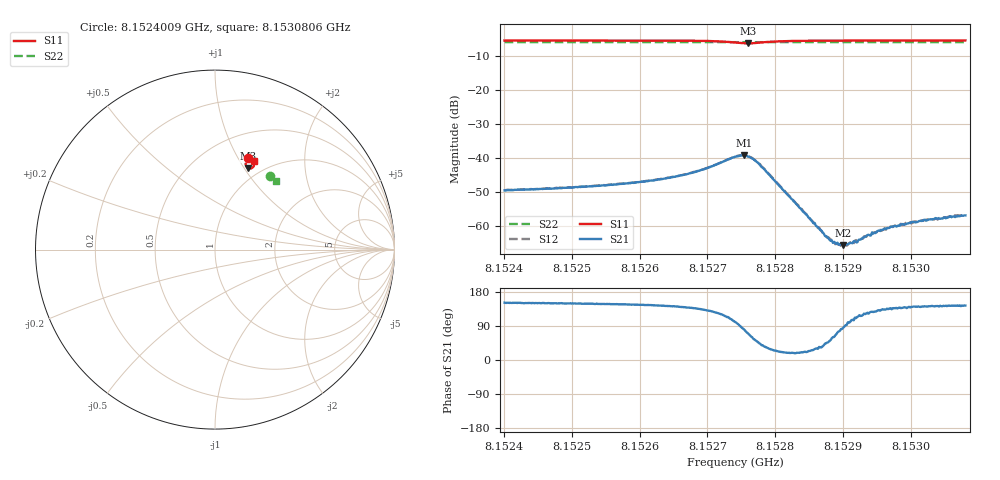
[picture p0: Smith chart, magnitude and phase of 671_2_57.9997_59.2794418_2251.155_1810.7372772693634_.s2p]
#  HZ  S  RI  R  50.00
! Rohde & Schwarz Vector Network Analyzer
! Rohde-Schwarz,ZNB20-2Port,1311601062101988,3.16
! Created: UTC 3/21/2024, 1:20:22 AM
! freq[Hz]  re:S11  im:S11  re:S21  im:S21  re:S12  im:S12  re:S22  im:S22
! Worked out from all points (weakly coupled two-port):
!   401 points, 8.1524009 GHz to 8.1530806 GHz, reference 50 ohm
!   highest |S21| = -39.18 dB at 8.1527543 GHz (marker M1); lowest = -65.7 dB at 8.1529005 GHz (marker M2)
!   lowest |S11| = -6.2 dB at 8.1527594 GHz (marker M3), VSWR 2.92, Z = 43.7 + j52.2 ohm
!   |S11| at or under -10 dB: nowhere
!   |S22| runs from -5.9 to -5.8 dB; largest |S21 - S12| = 0.00028
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8.15240088e9  0.1843 0.5082  -0.00291 0.0016  -0.00289 0.00162  0.3069 0.4091
8.15251473e9  0.1937 0.5046  -0.0032 0.00197  -0.00319 0.00203  0.3126 0.4047
8.15258779e9  0.2007 0.5012  -0.00353 0.0024  -0.00354 0.00242  0.3162 0.4015
8.15262858e9  0.2053 0.4983  -0.00387 0.00285  -0.00388 0.00291  0.3183 0.3999
8.15266086e9  0.2099 0.4947  -0.00421 0.00352  -0.00422 0.00362  0.32 0.3985
8.15268465e9  0.2138 0.49  -0.00453 0.00442  -0.00451 0.00452  0.3211 0.3973
8.15274073e9  0.2105 0.4582  -0.00193 0.0103  -0.00192 0.0103  0.3232 0.3942
8.15275432e9  0.1932 0.4519  0.00187 0.0108  0.00197 0.0108  0.3231 0.3934
8.15275942e9  0.1853 0.4536  0.00338 0.00986  0.00351 0.01  0.3231 0.3935
8.15277131e9  0.1728 0.4659  0.00564 0.00704  0.00568 0.007  0.3233 0.3936
8.15277981e9  0.1709 0.4758  0.00569 0.00465  0.00576 0.00481  0.3238 0.3936
8.15285458e9  0.1939 0.4997  0.00105 0.00051  0.00107 0.000467  0.3285 0.3913
8.15287327e9  0.1976 0.4998  0.00052 0.000481  0.000584 0.000458  0.3295 0.3904
8.15288176e9  0.199 0.4999  0.000361 0.000475  0.000386 0.000491  0.3298 0.3901
8.15289196e9  0.2005 0.4997  0.000167 0.000534  0.000223 0.000488  0.3304 0.3896
8.15290046e9  0.2018 0.4995  4.38e-05 0.000516  6.88e-05 0.000493  0.3309 0.3892
8.15291745e9  0.204 0.4993  -0.000222 0.000553  -0.000178 0.000565  0.3316 0.3886
8.15292255e9  0.2047 0.499  -0.000258 0.000551  -0.000228 0.000593  0.3319 0.3884
8.15293444e9  0.2061 0.4987  -0.000382 0.000595  -0.000349 0.000591  0.3326 0.3878
8.15296843e9  0.2096 0.498  -0.000664 0.000645  -0.000665 0.000658  0.3342 0.3863
8.1530177e9  0.2143 0.4965  -0.000921 0.00074  -0.000908 0.000746  0.3366 0.3842
8.15308058e9  0.2194 0.4946  -0.00114 0.00084  -0.00116 0.000871  0.3396 0.3813
